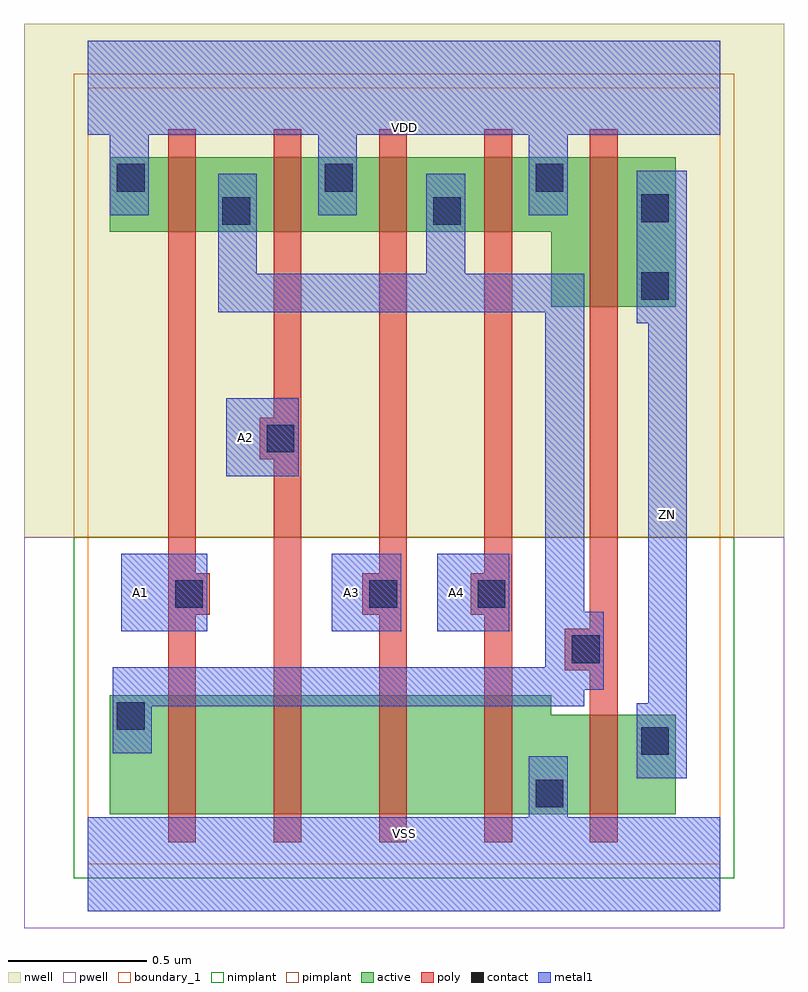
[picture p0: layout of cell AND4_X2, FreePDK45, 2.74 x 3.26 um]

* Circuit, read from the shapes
.subckt AND4_X2 A1 A2 A3 A4 VDD VSS ZN
M1 n1 A1 n2 VSUBS nfet w=0.43u l=0.1u
M2 n3 A2 n1 VSUBS nfet w=0.43u l=0.1u
M3 n4 A3 n3 VSUBS nfet w=0.43u l=0.1u
M4 VSS A4 n4 VSUBS nfet w=0.43u l=0.1u
M5 ZN n2 VSS VSUBS nfet w=0.36u l=0.1u
M6 n2 A1 VDD n5 pfet w=0.27u l=0.1u
M7 VDD A2 n2 n5 pfet w=0.27u l=0.1u
M8 n2 A3 VDD n5 pfet w=0.27u l=0.1u
M9 VDD A4 n2 n5 pfet w=0.27u l=0.1u
M10 ZN n2 VDD n5 pfet w=0.54u l=0.1u
.ends

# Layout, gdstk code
import gdstk
lib = gdstk.Library(unit=1e-6, precision=1e-09)
def R(c, l, rs):  # rectangles x0, y0, x1, y1
    for r in rs: c.add(gdstk.rectangle(r[:2], r[2:], *l))
def P(c, l, *ps):  # polygons
    for p in ps: c.add(gdstk.Polygon(p, *l))
active = (1, 0)
pwell = (2, 0)
nwell = (3, 0)
nimplant = (4, 0)
pimplant = (5, 0)
poly = (9, 0)
contact = (10, 0)
metal1 = (11, 0)
boundary_1 = (235, 1)

and4_x2 = lib.new_cell('AND4_X2')
P(and4_x2, active, [(0.08,2.28),(1.67,2.28),(1.67,2.01),(2.12,2.01),(2.12,2.55),(0.08,2.55)],
  [(0.08,0.18),(2.12,0.18),(2.12,0.54),(1.67,0.54),(1.67,0.61),(0.08,0.61)])
R(and4_x2, pwell, [(-0.23,-0.23,2.51,1.18)])
R(and4_x2, nwell, [(-0.23,1.18,2.51,3.03)])
R(and4_x2, nimplant, [(-0.05,-0.05,2.33,1.18)])
R(and4_x2, pimplant, [(-0.05,1.18,2.33,2.85)])
P(and4_x2, poly, [(1.72,0.7),(1.81,0.7),(1.81,0.08),(1.91,0.08),(1.91,2.65),(1.81,2.65),(1.81,0.85),(1.72,0.85)],
  [(1.38,0.9),(1.43,0.9),(1.43,0.08),(1.53,0.08),(1.53,2.65),(1.43,2.65),(1.43,1.05),(1.38,1.05)],
  [(0.99,0.9),(1.05,0.9),(1.05,0.08),(1.15,0.08),(1.15,2.65),(1.05,2.65),(1.05,1.05),(0.99,1.05)],
  [(0.62,1.46),(0.67,1.46),(0.67,0.08),(0.77,0.08),(0.77,2.65),(0.67,2.65),(0.67,1.61),(0.62,1.61)],
  [(0.29,0.08),(0.39,0.08),(0.39,0.9),(0.44,0.9),(0.44,1.05),(0.39,1.05),(0.39,2.65),(0.29,2.65)])
R(and4_x2, contact, [(1.615,0.205,1.715,0.305), (1.995,0.395,2.095,0.495), (0.105,0.485,0.205,0.585), (1.745,0.725,1.845,0.825), (0.315,0.925,0.415,1.025), (1.015,0.925,1.115,1.025), (1.405,0.925,1.505,1.025), (0.645,1.485,0.745,1.585), (1.995,2.035,2.095,2.135), (0.485,2.305,0.585,2.405), (1.245,2.305,1.345,2.405), (1.995,2.315,2.095,2.415), (0.105,2.425,0.205,2.525), (0.855,2.425,0.955,2.525), (1.615,2.425,1.715,2.525)])
R(and4_x2, metal1, [(0.12,0.84,0.43,1.12), (0.12,0.84,0.43,1.12), (0.88,0.84,1.13,1.12), (0.88,0.84,1.13,1.12), (1.26,0.84,1.52,1.12), (1.26,0.84,1.52,1.12), (0.5,1.4,0.76,1.68), (0.5,1.4,0.76,1.68)])
P(and4_x2, metal1, [(1.98,1.95),(2.02,1.95),(2.02,0.58),(1.98,0.58),(1.98,0.31),(2.16,0.31),(2.16,2.5),(1.98,2.5)],
  [(0,-0.17),(2.28,-0.17),(2.28,0.17),(1.73,0.17),(1.73,0.39),(1.59,0.39),(1.59,0.17),(0,0.17)],
  [(0,2.63),(0.08,2.63),(0.08,2.34),(0.22,2.34),(0.22,2.63),(0.83,2.63),(0.83,2.34),(0.97,2.34),(0.97,2.63),(1.59,2.63),(1.59,2.34),(1.73,2.34),(1.73,2.63),(2.28,2.63),(2.28,2.97),(0,2.97)],
  [(0,2.63),(0.08,2.63),(0.08,2.34),(0.22,2.34),(0.22,2.63),(0.83,2.63),(0.83,2.34),(0.97,2.34),(0.97,2.63),(1.59,2.63),(1.59,2.34),(1.73,2.34),(1.73,2.63),(2.28,2.63),(2.28,2.97),(0,2.97)],
  [(0,-0.17),(2.28,-0.17),(2.28,0.17),(1.73,0.17),(1.73,0.39),(1.59,0.39),(1.59,0.17),(0,0.17)],
  [(1.98,1.95),(2.02,1.95),(2.02,0.58),(1.98,0.58),(1.98,0.31),(2.16,0.31),(2.16,2.5),(1.98,2.5)],
  [(0.47,1.99),(1.65,1.99),(1.65,0.71),(0.09,0.71),(0.09,0.4),(0.23,0.4),(0.23,0.57),(1.79,0.57),(1.79,0.63),(1.86,0.63),(1.86,0.91),(1.79,0.91),(1.79,2.13),(1.36,2.13),(1.36,2.49),(1.22,2.49),(1.22,2.13),(0.61,2.13),(0.61,2.49),(0.47,2.49)])
R(and4_x2, boundary_1, [(0,0,2.28,2.8)])
and4_x2.add(gdstk.Label('ZN', (2.09,1.26), layer=11, texttype=0))
and4_x2.add(gdstk.Label('VSS', (1.14,0.11), layer=11, texttype=0))
and4_x2.add(gdstk.Label('VDD', (1.14,2.655), layer=11, texttype=0))
and4_x2.add(gdstk.Label('A4', (1.33,0.98), layer=11, texttype=0))
and4_x2.add(gdstk.Label('A3', (0.95,0.98), layer=11, texttype=0))
and4_x2.add(gdstk.Label('A2', (0.57,1.54), layer=11, texttype=0))
and4_x2.add(gdstk.Label('A1', (0.19,0.98), layer=11, texttype=0))

lib.write_gds('AND4_X2.gds')
